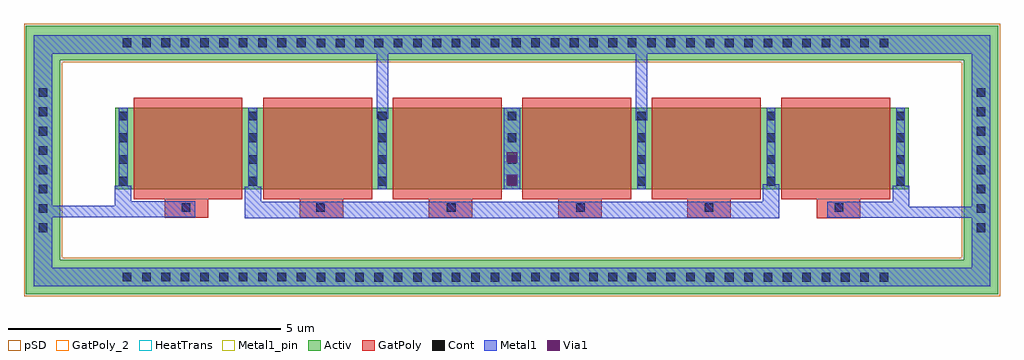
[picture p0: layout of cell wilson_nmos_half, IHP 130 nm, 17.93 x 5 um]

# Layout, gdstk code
from math import pi, radians
import gdstk
lib = gdstk.Library(unit=1e-6, precision=1e-09)
def R(c, l, rs):  # rectangles x0, y0, x1, y1
    for r in rs: c.add(gdstk.rectangle(r[:2], r[2:], *l))
def A(c, l, x, y, w, h, nx, ny, dx, dy):  # array of equal rectangles
    R(c, l, [(x+i*dx, y+j*dy, x+i*dx+w, y+j*dy+h) for i in range(nx) for j in range(ny)])
def P(c, l, *ps):  # polygons
    for p in ps: c.add(gdstk.Polygon(p, *l))
Activ = (1, 0)
GatPoly = (5, 0)
GatPoly_2 = (5, 2)
Cont = (6, 0)
Metal1 = (8, 0)
Metal1_pin = (8, 2)
pSD = (14, 0)
Via1 = (19, 0)
HeatTrans = (51, 0)

nmos_1 = lib.new_cell('nmos$1')
A(nmos_1, Activ, 0, 0, 0.3, 0.3, 7, 1, 2.38, 0)
R(nmos_1, Activ, [(0,0,14.58,1.5)])
A(nmos_1, GatPoly, 0.34, -0.18, 2, 1.86, 6, 1, 2.38, 0)
R(nmos_1, GatPoly_2, [(0.34,-0.18,2.34,1.68)])
A(nmos_1, Cont, 0.07, 0.07, 0.16, 0.16, 7, 4, 2.38, 0.4)
A(nmos_1, Metal1, 0.07, 0, 0.16, 1.5, 7, 1, 2.38, 0)
R(nmos_1, Metal1_pin, [(0.07,0,0.23,1.5), (2.45,0,2.61,1.5)])
A(nmos_1, HeatTrans, 0.34, -0.18, 2, 1.86, 6, 1, 2.38, 0)
nmos_1.add(gdstk.Label('nmos', (1.34,0.75), layer=63, texttype=0))
nmos_1.add(gdstk.Label('nmos', (1.34,0.75), layer=51, texttype=0))
nmos_1.add(gdstk.Label('nmos', (3.72,0.75), layer=51, texttype=0))
nmos_1.add(gdstk.Label('nmos', (6.1,0.75), layer=51, texttype=0))
nmos_1.add(gdstk.Label('nmos', (8.48,0.75), layer=51, texttype=0))
nmos_1.add(gdstk.Label('nmos', (10.86,0.75), layer=51, texttype=0))
nmos_1.add(gdstk.Label('nmos', (13.24,0.75), layer=51, texttype=0))

wilson_nmos_half = lib.new_cell('wilson_nmos_half')
A(wilson_nmos_half, GatPoly, -3.885, -1.29, 0.8, 0.355, 4, 1, 2.375, 0)
R(wilson_nmos_half, GatPoly, [(5.615,-1.295,6.415,-0.935)])
P(wilson_nmos_half, GatPoly, [(-6.36,-1.29),(-6.36,-0.935),(-5.56,-0.935),(-5.56,-1.29),(-5.975,-1.29)])
A(wilson_nmos_half, Cont, -3.575, -2.46, 0.16, 0.16, 9, 2, 0.355, 4.305)
A(wilson_nmos_half, Cont, 3.575, -2.46, 0.16, 0.16, 9, 2, 0.355, 4.305)
A(wilson_nmos_half, Cont, -7.135, -2.455, 0.16, 0.16, 9, 2, 0.355, 4.305)
A(wilson_nmos_half, Cont, 0.015, -2.455, 0.16, 0.16, 9, 2, 0.355, 4.305)
A(wilson_nmos_half, Cont, -8.68, -1.55, 0.16, 0.16, 1, 8, 0, 0.355)
A(wilson_nmos_half, Cont, 8.555, -1.55, 0.16, 0.16, 1, 8, 0, 0.355)
R(wilson_nmos_half, Cont, [(-0.375,-2.46,-0.215,-2.3), (6.775,-2.46,6.935,-2.3), (-3.935,-2.455,-3.775,-2.295), (3.215,-2.455,3.375,-2.295), (-6.055,-1.18,-5.895,-1.02), (-3.58,-1.18,-3.42,-1.02), (-1.18,-1.18,-1.02,-1.02), (1.195,-1.18,1.355,-1.02), (3.56,-1.18,3.72,-1.02), (5.945,-1.18,6.105,-1.02), (-0.375,1.845,-0.215,2.005), (6.775,1.845,6.935,2.005), (-3.935,1.85,-3.775,2.01), (3.215,1.85,3.375,2.01)])
R(wilson_nmos_half, Metal1, [(-0.135,-0.765,0.17,0.735)])
R(wilson_nmos_half, Via1, [(-0.08,-0.685,0.11,-0.495), (-0.08,-0.27,0.11,-0.08)])
wilson_nmos_half.add(gdstk.FlexPath([(-3.695,-1.145),(3.855,-1.145)], 0.3, ends="flush", simple_path=True, layer=8, datatype=0))  # Metal1
wilson_nmos_half.add(gdstk.FlexPath([(5.815,-1.14),(7.165,-1.14),(7.165,-0.695)], 0.3, ends="flush", simple_path=True, layer=8, datatype=0))  # Metal1
wilson_nmos_half.add(gdstk.FlexPath([(-5.8,-1.13),(-7.13,-1.13),(-7.13,-0.695)], 0.3, ends="flush", simple_path=True, layer=8, datatype=0))  # Metal1
wilson_nmos_half.add(gdstk.FlexPath([(-4.74,-0.72),(-4.74,-1.145),(-3.69,-1.145)], 0.3, ends="flush", simple_path=True, layer=8, datatype=0))  # Metal1
wilson_nmos_half.add(gdstk.FlexPath([(3.83,-1.145),(4.775,-1.145),(4.775,-0.675)], 0.3, ends="flush", simple_path=True, layer=8, datatype=0))  # Metal1
wilson_nmos_half.add(gdstk.FlexPath([(-8.6,-2.375),(8.635,-2.375),(8.635,1.9),(-8.6,1.9),(-8.6,-2.545)], 0.34, ends="flush", simple_path=True, layer=8, datatype=0))  # Metal1
wilson_nmos_half.add(gdstk.FlexPath([(-8.62,-1.175),(-7.13,-1.175)], 0.21, ends="flush", simple_path=True, layer=8, datatype=0))  # Metal1
wilson_nmos_half.add(gdstk.FlexPath([(7.165,-1.185),(8.635,-1.185)], 0.21, ends="flush", simple_path=True, layer=8, datatype=0))  # Metal1
wilson_nmos_half.add(gdstk.FlexPath([(-2.365,0.53),(-2.365,1.9)], 0.21, ends="flush", simple_path=True, layer=8, datatype=0))  # Metal1
wilson_nmos_half.add(gdstk.FlexPath([(2.395,0.505),(2.395,1.9)], 0.21, ends="flush", simple_path=True, layer=8, datatype=0))  # Metal1
wilson_nmos_half.add(gdstk.FlexPath([(-8.28,1.925),(-8.265,1.925),(8.635,1.925),(8.635,-2.375),(-8.6,-2.375),(-8.6,2.245)], 0.64, ends="flush", simple_path=True, layer=1, datatype=0))  # Activ
wilson_nmos_half.add(gdstk.FlexPath([(-8.25,1.925),(8.635,1.925),(8.635,-2.375),(-8.6,-2.375),(-8.6,2.275)], 0.7, ends="flush", simple_path=True, layer=14, datatype=0))  # pSD
wilson_nmos_half.add(gdstk.Reference(nmos_1, (7.305,0.735), rotation=pi))

lib.write_gds('wilson_nmos_half.gds')
